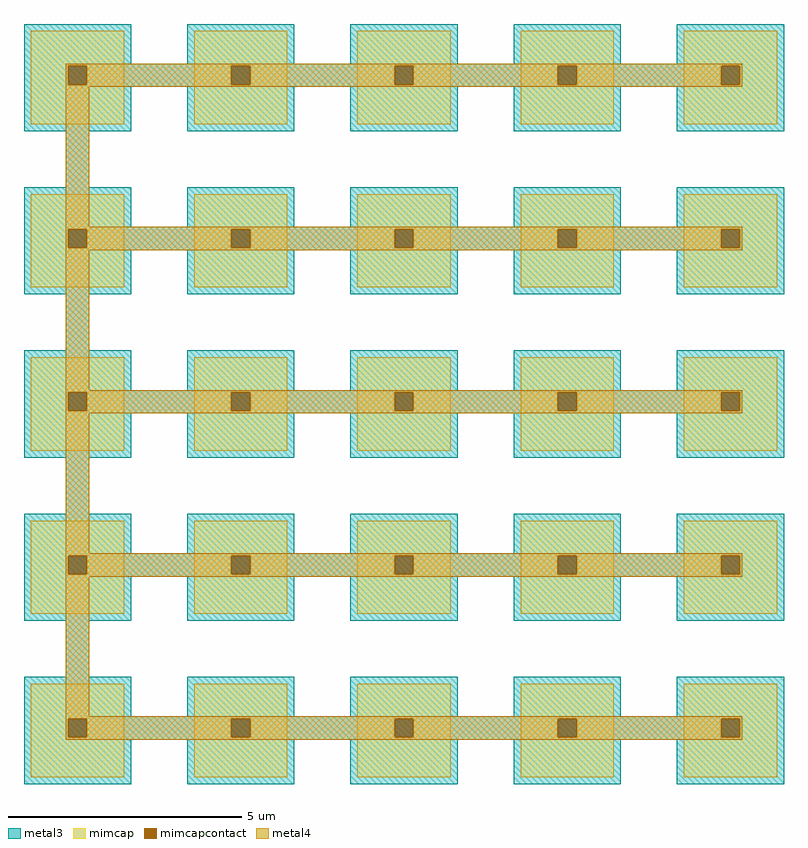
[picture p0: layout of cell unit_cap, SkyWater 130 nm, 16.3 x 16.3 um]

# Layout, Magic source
magic
tech sky130A
<< metal3 >>
rect -15 130 215 215
rect 335 130 565 215
rect 685 130 915 215
rect 1035 130 1265 215
rect 1385 130 1615 215
rect -15 80 1615 130
rect -15 -15 215 80
rect 335 -15 565 80
rect 685 -15 915 80
rect 1035 -15 1265 80
rect 1385 -15 1615 80
rect 75 -135 125 -15
rect -15 -220 215 -135
rect 335 -220 565 -135
rect 685 -220 915 -135
rect 1035 -220 1265 -135
rect 1385 -220 1615 -135
rect -15 -270 1615 -220
rect -15 -365 215 -270
rect 335 -365 565 -270
rect 685 -365 915 -270
rect 1035 -365 1265 -270
rect 1385 -365 1615 -270
rect 75 -485 125 -365
rect -15 -570 215 -485
rect 335 -570 565 -485
rect 685 -570 915 -485
rect 1035 -570 1265 -485
rect 1385 -570 1615 -485
rect -15 -620 1615 -570
rect -15 -715 215 -620
rect 335 -715 565 -620
rect 685 -715 915 -620
rect 1035 -715 1265 -620
rect 1385 -715 1615 -620
rect 75 -835 125 -715
rect -15 -920 215 -835
rect 335 -920 565 -835
rect 685 -920 915 -835
rect 1035 -920 1265 -835
rect 1385 -920 1615 -835
rect -15 -970 1615 -920
rect -15 -1065 215 -970
rect 335 -1065 565 -970
rect 685 -1065 915 -970
rect 1035 -1065 1265 -970
rect 1385 -1065 1615 -970
rect 75 -1185 125 -1065
rect -15 -1270 215 -1185
rect 335 -1270 565 -1185
rect 685 -1270 915 -1185
rect 1035 -1270 1265 -1185
rect 1385 -1270 1615 -1185
rect -15 -1320 1615 -1270
rect -15 -1415 215 -1320
rect 335 -1415 565 -1320
rect 685 -1415 915 -1320
rect 1035 -1415 1265 -1320
rect 1385 -1415 1615 -1320
<< mimcap >>
rect 0 125 200 200
rect 0 85 80 125
rect 120 85 200 125
rect 0 0 200 85
rect 350 125 550 200
rect 350 85 430 125
rect 470 85 550 125
rect 350 0 550 85
rect 700 125 900 200
rect 700 85 780 125
rect 820 85 900 125
rect 700 0 900 85
rect 1050 125 1250 200
rect 1050 85 1130 125
rect 1170 85 1250 125
rect 1050 0 1250 85
rect 1400 125 1600 200
rect 1400 85 1480 125
rect 1520 85 1600 125
rect 1400 0 1600 85
rect 0 -225 200 -150
rect 0 -265 80 -225
rect 120 -265 200 -225
rect 0 -350 200 -265
rect 350 -225 550 -150
rect 350 -265 430 -225
rect 470 -265 550 -225
rect 350 -350 550 -265
rect 700 -225 900 -150
rect 700 -265 780 -225
rect 820 -265 900 -225
rect 700 -350 900 -265
rect 1050 -225 1250 -150
rect 1050 -265 1130 -225
rect 1170 -265 1250 -225
rect 1050 -350 1250 -265
rect 1400 -225 1600 -150
rect 1400 -265 1480 -225
rect 1520 -265 1600 -225
rect 1400 -350 1600 -265
rect 0 -575 200 -500
rect 0 -615 80 -575
rect 120 -615 200 -575
rect 0 -700 200 -615
rect 350 -575 550 -500
rect 350 -615 430 -575
rect 470 -615 550 -575
rect 350 -700 550 -615
rect 700 -575 900 -500
rect 700 -615 780 -575
rect 820 -615 900 -575
rect 700 -700 900 -615
rect 1050 -575 1250 -500
rect 1050 -615 1130 -575
rect 1170 -615 1250 -575
rect 1050 -700 1250 -615
rect 1400 -575 1600 -500
rect 1400 -615 1480 -575
rect 1520 -615 1600 -575
rect 1400 -700 1600 -615
rect 0 -925 200 -850
rect 0 -965 80 -925
rect 120 -965 200 -925
rect 0 -1050 200 -965
rect 350 -925 550 -850
rect 350 -965 430 -925
rect 470 -965 550 -925
rect 350 -1050 550 -965
rect 700 -925 900 -850
rect 700 -965 780 -925
rect 820 -965 900 -925
rect 700 -1050 900 -965
rect 1050 -925 1250 -850
rect 1050 -965 1130 -925
rect 1170 -965 1250 -925
rect 1050 -1050 1250 -965
rect 1400 -925 1600 -850
rect 1400 -965 1480 -925
rect 1520 -965 1600 -925
rect 1400 -1050 1600 -965
rect 0 -1275 200 -1200
rect 0 -1315 80 -1275
rect 120 -1315 200 -1275
rect 0 -1400 200 -1315
rect 350 -1275 550 -1200
rect 350 -1315 430 -1275
rect 470 -1315 550 -1275
rect 350 -1400 550 -1315
rect 700 -1275 900 -1200
rect 700 -1315 780 -1275
rect 820 -1315 900 -1275
rect 700 -1400 900 -1315
rect 1050 -1275 1250 -1200
rect 1050 -1315 1130 -1275
rect 1170 -1315 1250 -1275
rect 1050 -1400 1250 -1315
rect 1400 -1275 1600 -1200
rect 1400 -1315 1480 -1275
rect 1520 -1315 1600 -1275
rect 1400 -1400 1600 -1315
<< mimcapcontact >>
rect 80 85 120 125
rect 430 85 470 125
rect 780 85 820 125
rect 1130 85 1170 125
rect 1480 85 1520 125
rect 80 -265 120 -225
rect 430 -265 470 -225
rect 780 -265 820 -225
rect 1130 -265 1170 -225
rect 1480 -265 1520 -225
rect 80 -615 120 -575
rect 430 -615 470 -575
rect 780 -615 820 -575
rect 1130 -615 1170 -575
rect 1480 -615 1520 -575
rect 80 -965 120 -925
rect 430 -965 470 -925
rect 780 -965 820 -925
rect 1130 -965 1170 -925
rect 1480 -965 1520 -925
rect 80 -1315 120 -1275
rect 430 -1315 470 -1275
rect 780 -1315 820 -1275
rect 1130 -1315 1170 -1275
rect 1480 -1315 1520 -1275
<< metal4 >>
rect 75 125 1525 130
rect 75 85 80 125
rect 120 85 430 125
rect 470 85 780 125
rect 820 85 1130 125
rect 1170 85 1480 125
rect 1520 85 1525 125
rect 75 80 1525 85
rect 75 -220 125 80
rect 75 -225 1525 -220
rect 75 -265 80 -225
rect 120 -265 430 -225
rect 470 -265 780 -225
rect 820 -265 1130 -225
rect 1170 -265 1480 -225
rect 1520 -265 1525 -225
rect 75 -270 1525 -265
rect 75 -570 125 -270
rect 75 -575 1525 -570
rect 75 -615 80 -575
rect 120 -615 430 -575
rect 470 -615 780 -575
rect 820 -615 1130 -575
rect 1170 -615 1480 -575
rect 1520 -615 1525 -575
rect 75 -620 1525 -615
rect 75 -920 125 -620
rect 75 -925 1525 -920
rect 75 -965 80 -925
rect 120 -965 430 -925
rect 470 -965 780 -925
rect 820 -965 1130 -925
rect 1170 -965 1480 -925
rect 1520 -965 1525 -925
rect 75 -970 1525 -965
rect 75 -1270 125 -970
rect 75 -1275 1525 -1270
rect 75 -1315 80 -1275
rect 120 -1315 430 -1275
rect 470 -1315 780 -1275
rect 820 -1315 1130 -1275
rect 1170 -1315 1480 -1275
rect 1520 -1315 1525 -1275
rect 75 -1320 1525 -1315
<< end >>
